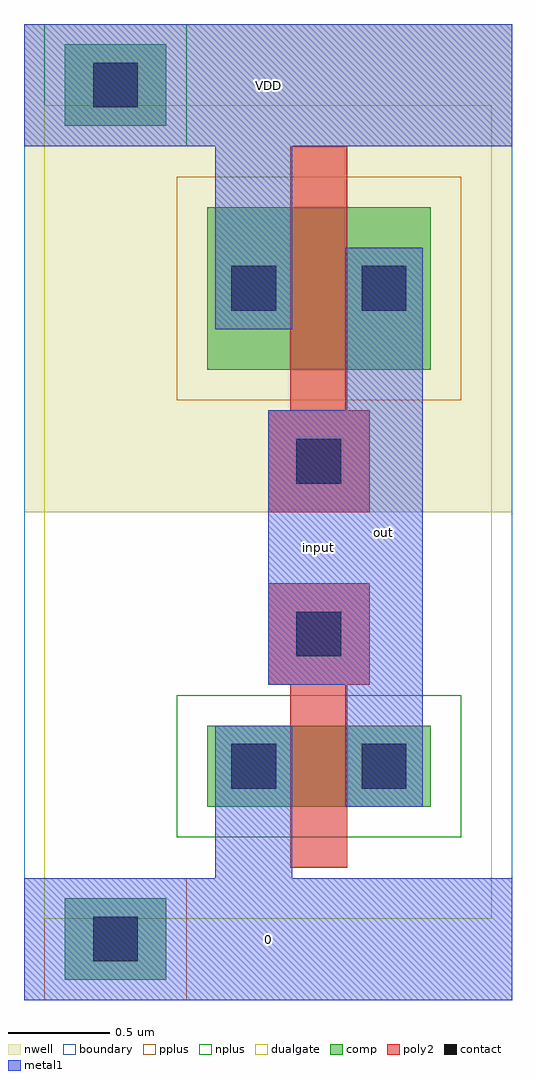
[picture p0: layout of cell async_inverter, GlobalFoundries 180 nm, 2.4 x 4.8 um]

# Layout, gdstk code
import gdstk
lib = gdstk.Library(unit=1e-6, precision=1e-09)
def R(c, l, rs):  # rectangles x0, y0, x1, y1
    for r in rs: c.add(gdstk.rectangle(r[:2], r[2:], *l))
boundary = (0, 0)
nwell = (21, 0)
comp = (22, 0)
poly2 = (30, 0)
pplus = (31, 0)
nplus = (32, 0)
contact = (33, 0)
metal1 = (34, 0)
dualgate = (55, 0)

gf180mcu_pfet = lib.new_cell('gf180mcu_pfet')
R(gf180mcu_pfet, comp, [(0.9,3.1,2,3.9)])
R(gf180mcu_pfet, poly2, [(1.2,2.4,1.7,2.9), (1.31,2.8,1.59,4.2)])
R(gf180mcu_pfet, pplus, [(0.75,2.95,2.15,4.05)])
R(gf180mcu_pfet, contact, [(1.34,2.54,1.56,2.76), (1.02,3.39,1.24,3.61), (1.66,3.39,1.88,3.61)])
R(gf180mcu_pfet, metal1, [(1.2,2.4,1.7,2.9), (0.94,3.3,1.32,3.7), (1.58,3.3,1.96,3.7)])

gf180mcu_nfet = lib.new_cell('gf180mcu_nfet')
R(gf180mcu_nfet, comp, [(0.9,0.95,2,1.35)])
R(gf180mcu_nfet, poly2, [(1.31,0.65,1.59,1.65), (1.2,1.55,1.7,2.05)])
R(gf180mcu_nfet, nplus, [(0.75,0.8,2.15,1.5)])
R(gf180mcu_nfet, contact, [(1.02,1.04,1.24,1.26), (1.66,1.04,1.88,1.26), (1.34,1.69,1.56,1.91)])
R(gf180mcu_nfet, metal1, [(0.94,0.95,1.32,1.35), (1.58,0.95,1.96,1.35), (1.2,1.55,1.7,2.05)])

async_inverter = lib.new_cell('async_inverter')
R(async_inverter, boundary, [(0,0,2.4,4.8)])
R(async_inverter, nwell, [(0,2.4,2.4,4.8)])
R(async_inverter, comp, [(0.2,0.1,0.7,0.5), (0.2,4.3,0.7,4.7)])
R(async_inverter, pplus, [(0.1,0,0.8,0.6)])
R(async_inverter, nplus, [(0.1,4.2,0.8,4.8)])
R(async_inverter, contact, [(0.34,0.19,0.56,0.41), (0.34,4.39,0.56,4.61)])
R(async_inverter, metal1, [(0,0,2.4,0.6), (0.94,0.4,1.32,1.35), (1.58,0.95,1.96,3.7), (1.2,1.55,1.7,2.9), (0.94,3.3,1.32,4.4), (0,4.2,2.4,4.8)])
R(async_inverter, dualgate, [(0.1,0.4,2.3,4.4)])
async_inverter.add(gdstk.Reference(gf180mcu_pfet, (0,0)))
async_inverter.add(gdstk.Reference(gf180mcu_nfet, (0,0)))
async_inverter.add(gdstk.Label('0', (1.2,0.3), layer=34, texttype=10))
async_inverter.add(gdstk.Label('VDD', (1.2,4.5), layer=34, texttype=10))
async_inverter.add(gdstk.Label('input', (1.45,2.225), layer=34, texttype=10))
async_inverter.add(gdstk.Label('out', (1.77,2.3), layer=34, texttype=10))

lib.write_gds('async_inverter.gds')
